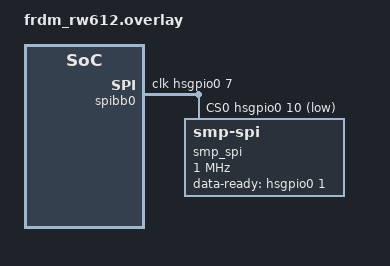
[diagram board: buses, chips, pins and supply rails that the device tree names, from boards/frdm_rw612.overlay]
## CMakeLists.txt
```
#
# Copyright (c) 2026 Zephyr Project Contributors
#
# SPDX-License-Identifier: Apache-2.0
#

cmake_minimum_required(VERSION 3.20.0)
find_package(Zephyr REQUIRED HINTS $ENV{ZEPHYR_BASE})
project(transport_spi)

target_sources(app PRIVATE src/main.c)
```

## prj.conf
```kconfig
#
# Copyright (c) 2026 Zephyr Project Contributors
#
# SPDX-License-Identifier: Apache-2.0
#

CONFIG_ZTEST=y
CONFIG_NET_BUF=y
CONFIG_ZCBOR=y
CONFIG_MCUMGR=y
CONFIG_GPIO=y
CONFIG_SPI=y
CONFIG_SPI_PERIPHERAL=y
CONFIG_SPI_BITBANG=y
CONFIG_MCUMGR_TRANSPORT_SPI=y
```

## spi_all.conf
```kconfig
#
# Copyright (c) 2026 Zephyr Project Contributors
#
# SPDX-License-Identifier: Apache-2.0
#

CONFIG_MCUMGR_TRANSPORT_NETBUF_SIZE=512
CONFIG_MCUMGR_TRANSPORT_SPI_MTU=512
```

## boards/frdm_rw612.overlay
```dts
/*
 * Copyright (c) 2026 Zephyr Project Contributors
 *
 * SPDX-License-Identifier: Apache-2.0
 */

#include <zephyr/dt-bindings/gpio/gpio.h>

/ {
	spibb0: spibb0 {
		compatible = "zephyr,spi-bitbang";
		#address-cells = <1>;
		#size-cells = <0>;
		clk-gpios = <&hsgpio0 7 GPIO_ACTIVE_HIGH>;
		sdo-gpios = <&hsgpio0 9 GPIO_ACTIVE_HIGH>;
		sdi-gpios = <&hsgpio0 8 0>;
		cs-gpios = <&hsgpio0 10 GPIO_ACTIVE_LOW>;
		status = "okay";

		smp_spi: smp-spi@0 {
			compatible = "zephyr,smp-spi";
			reg = <0>;
			spi-max-frequency = <1000000>;
			data-ready-gpios = <&hsgpio0 1 GPIO_ACTIVE_HIGH>;
		};
	};
};
```

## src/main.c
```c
/*
 * Copyright (c) 2026 Zephyr Project Contributors
 *
 * SPDX-License-Identifier: Apache-2.0
 */

#if !defined(CONFIG_MCUMGR_TRANSPORT_SPI)
#error "Expected Kconfig option CONFIG_MCUMGR_TRANSPORT_SPI not enabled"
#endif
```
